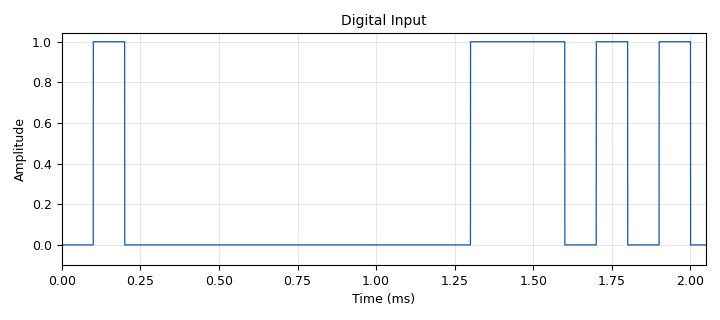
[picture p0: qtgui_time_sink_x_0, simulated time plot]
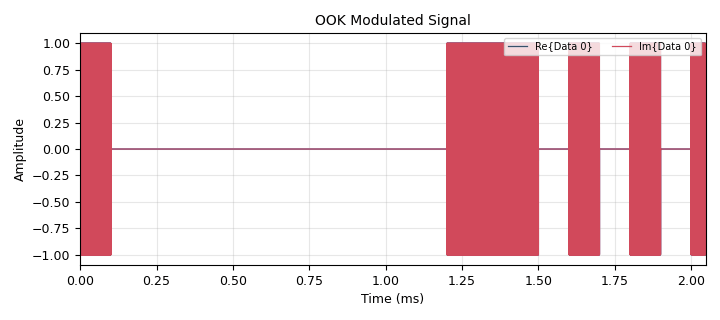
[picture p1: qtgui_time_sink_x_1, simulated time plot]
<?xml version='1.0' encoding='utf-8'?>
<?grc format='1' created='3.7.13'?>
<flow_graph>
<block>
<key>options</key>
<param><key>id</key><value>top_block</value></param>
<param><key>category</key><value>Custom</value></param>
<param><key>generate_options</key><value>qt_gui</value></param>
</block>
<block>
<key>variable</key>
<param><key>id</key><value>center_freq</value></param>
<param><key>value</key><value>313e6</value></param>
</block>
<block>
<key>variable_qtgui_entry</key>
<param><key>id</key><value>freq</value></param>
<param><key>value</key><value>315e6</value></param>
<param><key>type</key><value>real</value></param>
</block>
<block>
<key>variable</key>
<param><key>id</key><value>gain</value></param>
<param><key>value</key><value>1</value></param>
</block>
<block>
<key>variable</key>
<param><key>id</key><value>samp_rate</value></param>
<param><key>value</key><value>8e6</value></param>
</block>
<block>
<key>variable</key>
<param><key>id</key><value>sps</value></param>
<param><key>comment</key><value>samples per symbol</value></param>
<param><key>value</key><value>int(symbol_time*samp_rate)</value></param>
</block>
<block>
<key>variable</key>
<param><key>id</key><value>symbol_rate</value></param>
<param><key>value</key><value>1.0/symbol_time</value></param>
</block>
<block>
<key>variable</key>
<param><key>id</key><value>symbol_time</value></param>
<param><key>value</key><value>0.1e-3</value></param>
</block>
<block>
<key>analog_const_source_x</key>
<param><key>id</key><value>analog_const_source_x_0</value></param>
<param><key>const</key><value>0</value></param>
<param><key>type</key><value>float</value></param>
</block>
<block>
<key>analog_sig_source_x</key>
<param><key>id</key><value>analog_sig_source_x_0</value></param>
<param><key>amp</key><value>gain</value></param>
<param><key>freq</key><value>freq-center_freq</value></param>
<param><key>offset</key><value>0</value></param>
<param><key>type</key><value>complex</value></param>
<param><key>samp_rate</key><value>samp_rate</value></param>
<param><key>waveform</key><value>analog.GR_COS_WAVE</value></param>
</block>
<block>
<key>blocks_float_to_complex</key>
<param><key>id</key><value>blocks_float_to_complex_0</value></param>
</block>
<block>
<key>blocks_multiply_xx</key>
<param><key>id</key><value>blocks_multiply_xx_0</value></param>
<param><key>type</key><value>complex</value></param>
</block>
<block>
<key>blocks_repeat</key>
<param><key>id</key><value>blocks_repeat_0</value></param>
<param><key>interp</key><value>sps</value></param>
<param><key>type</key><value>float</value></param>
</block>
<block>
<key>blocks_throttle</key>
<param><key>id</key><value>blocks_throttle_0</value></param>
<param><key>samples_per_second</key><value>samp_rate</value></param>
<param><key>type</key><value>float</value></param>
</block>
<block>
<key>blocks_vector_source_x</key>
<param><key>id</key><value>blocks_vector_source_x_0</value></param>
<param><key>type</key><value>float</value></param>
<param><key>repeat</key><value>True</value></param>
<param><key>vector</key><value>(0, 1, 1, 1, 0, 1, 0, 1, 0, 1, 0, 0, 0, 0, 0, 0, 0, 0, 0, 0)</value></param>
</block>
<block>
<key>qtgui_time_sink_x</key>
<param><key>id</key><value>qtgui_time_sink_x_0</value></param>
<param><key>color1</key><value>"blue"</value></param>
<param><key>label1</key><value></value></param>
<param><key>name</key><value>"Digital Input"</value></param>
<param><key>size</key><value>16384</value></param>
<param><key>srate</key><value>samp_rate</value></param>
<param><key>tr_delay</key><value>100e-6</value></param>
<param><key>tr_level</key><value>0.5</value></param>
<param><key>tr_mode</key><value>qtgui.TRIG_MODE_AUTO</value></param>
<param><key>type</key><value>float</value></param>
<param><key>ymin</key><value>-0.1</value></param>
</block>
<block>
<key>qtgui_time_sink_x</key>
<param><key>id</key><value>qtgui_time_sink_x_1</value></param>
<param><key>color1</key><value>"blue"</value></param>
<param><key>label1</key><value></value></param>
<param><key>color2</key><value>"red"</value></param>
<param><key>label2</key><value></value></param>
<param><key>name</key><value>"OOK Modulated Signal"</value></param>
<param><key>size</key><value>16384</value></param>
<param><key>srate</key><value>samp_rate</value></param>
<param><key>tr_delay</key><value>0.1e-3</value></param>
<param><key>tr_level</key><value>0.5</value></param>
<param><key>tr_mode</key><value>qtgui.TRIG_MODE_AUTO</value></param>
<param><key>type</key><value>complex</value></param>
<param><key>ymax</key><value>1.1</value></param>
<param><key>ymin</key><value>-1.1</value></param>
</block>
<connection><source_block_id>analog_const_source_x_0</source_block_id><sink_block_id>blocks_float_to_complex_0</sink_block_id><source_key>0</source_key><sink_key>1</sink_key></connection>
<connection><source_block_id>analog_sig_source_x_0</source_block_id><sink_block_id>blocks_multiply_xx_0</sink_block_id><source_key>0</source_key><sink_key>1</sink_key></connection>
<connection><source_block_id>blocks_float_to_complex_0</source_block_id><sink_block_id>blocks_multiply_xx_0</sink_block_id><source_key>0</source_key><sink_key>0</sink_key></connection>
<connection><source_block_id>blocks_multiply_xx_0</source_block_id><sink_block_id>qtgui_time_sink_x_1</sink_block_id><source_key>0</source_key><sink_key>0</sink_key></connection>
<connection><source_block_id>blocks_repeat_0</source_block_id><sink_block_id>blocks_float_to_complex_0</sink_block_id><source_key>0</source_key><sink_key>0</sink_key></connection>
<connection><source_block_id>blocks_repeat_0</source_block_id><sink_block_id>qtgui_time_sink_x_0</sink_block_id><source_key>0</source_key><sink_key>0</sink_key></connection>
<connection><source_block_id>blocks_throttle_0</source_block_id><sink_block_id>blocks_repeat_0</sink_block_id><source_key>0</source_key><sink_key>0</sink_key></connection>
<connection><source_block_id>blocks_vector_source_x_0</source_block_id><sink_block_id>blocks_throttle_0</sink_block_id><source_key>0</source_key><sink_key>0</sink_key></connection>
</flow_graph>
